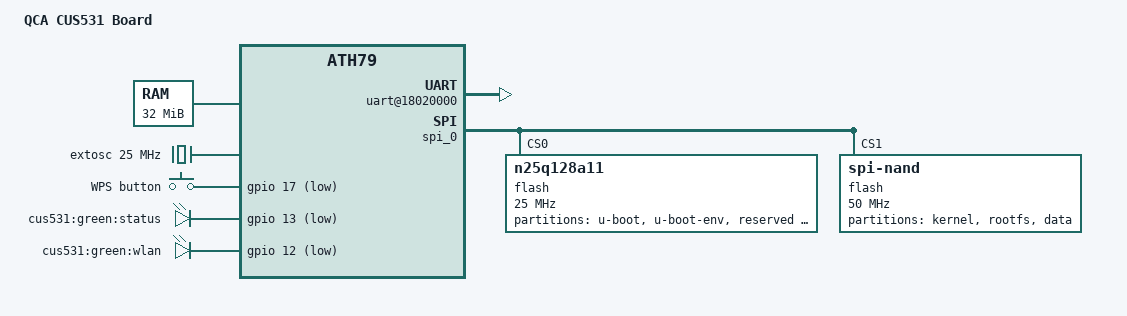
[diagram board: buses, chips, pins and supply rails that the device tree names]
// SPDX-License-Identifier: ISC
/*
 * Copyright (c) 2022, Qualcomm Innovation Center, Inc. All rights reserved.
 */
/dts-v1/;

#include <dt-bindings/gpio/gpio.h>
#include <dt-bindings/input/input.h>
#include <dt-bindings/clock/ath79-clk.h>

#include "ath79.dtsi"

/ {
	compatible = "qca,cus531", "qca,ath79";
	model = "QCA CUS531 Board";

	aliases {
		serial0 = "/ahb/apb/uart@18020000";
	};

	cpus {
		cpu@0 {
			clocks = <&pll ATH79_CLK_CPU>;
		};
	};

	memory@0 {
		device_type = "memory";
		reg = <0x0 0x2000000>;
	};

	chosen {
		bootargs = "board=CUS531-NAND console=ttyS0,115200 ubi.mtd=5,2048 root=/dev/mtdblock8 mtdparts=spi0.0:256k(u-boot)ro,64k(u-boot-env),128k(reserved),64k(art);spi0.1:2m(kernel),36m(rootfs),90m(data),38m@0x0(firmware) rootfstype=squashfs,jffs2 noinitrd mem=64M rootfstype=squashfs,jffs2 noinitrd loglevel=8 panic=10 initcall_debug=0";

	};

	extosc: oscillator {
		compatible = "fixed-clock";
		#clock-cells = <0>;
		clock-frequency = <25000000>;
	};

	cpuintc: interrupt-controller {
		qca,ddr-wb-channel-interrupts = <3>;
		qca,ddr-wb-channels = <&ddr_ctrl 0x2>;
	};

	ahb {
		apb {
			uart@18020000 {
				status = "okay";
			};

			pll-controller@18050000 {
				clocks = <&extosc>;
			};

			ip3_int: interrupt-controller@ip3_int {
				status = "disabled";
			};

			pll: pll-controller@18050000 {
				compatible = "qca,qca9530-pll";
				reg = <0x18050000 0x20>;

				clock-names = "ref";
				/* The board must provides the ref clock */

				#clock-cells = <1>;
				#clock-output-names = "cpu", "ddr", "ahb";
			};
		};

		spi_0: spi@1f000000 {
			status = "okay";

			flash@0 {
				#address-cells = <1>;
				#size-cells = <1>;
				compatible = "n25q128a11";
				linux,modalias = "jedec,spi-nor", "n25q128a11", "m25p80";
				reg = <0>;
				spi-max-frequency = <25000000>;

				partition@0 {
					label = "u-boot";
					reg = <0x000000 0x040000>;
				};

				partition@1 {
					label = "u-boot-env";
					reg = <0x040000 0x010000>;
				};

				partition@2 {
					label = "reserved";
					reg = <0x050000 0x020000>;
				};

				partition@3 {
					label = "art";
					reg = <0x070000 0x0010000>;
				};

			};

			flash@1 {
				#address-cells = <1>;
				#size-cells = <1>;
				compatible = "spi-nand";
				reg = <1>;
				spi-max-frequency = <50000000>;
				status = "okay";
				/* cs-gpios = <&gpio 1 GPIO_ACTIVE_LOW>; */
				partition@0 {
					label = "kernel";
					reg = <0x000000 0x200000>;
				};

				partition@1 {
					label = "rootfs";
					reg = <0x200000 0x2400000>;
				};

				partition@2 {
					label = "data";
					reg = <0x2600000 0x5a00000>;
				};
			};
		};
	};

	gpio-keys-polled {
		compatible = "gpio-keys-polled";
		#address-cells = <1>;
		#size-cells = <0>;

		poll-interval = <20>;

		button@0 {
			label = "WPS button";
			linux,code = <KEY_WPS_BUTTON>;
			gpios = <&gpio 17 GPIO_ACTIVE_LOW>;
			debounce-interval = <60>;
		};
	};

	leds {
		compatible = "gpio-leds";
		led@0 {
			label = "cus531:green:status";
			gpios = <&gpio 13 GPIO_ACTIVE_LOW>;
		};

		led@1 {
			label = "cus531:green:wlan";
			gpios = <&gpio 12 GPIO_ACTIVE_LOW>;
		};

	};
};
